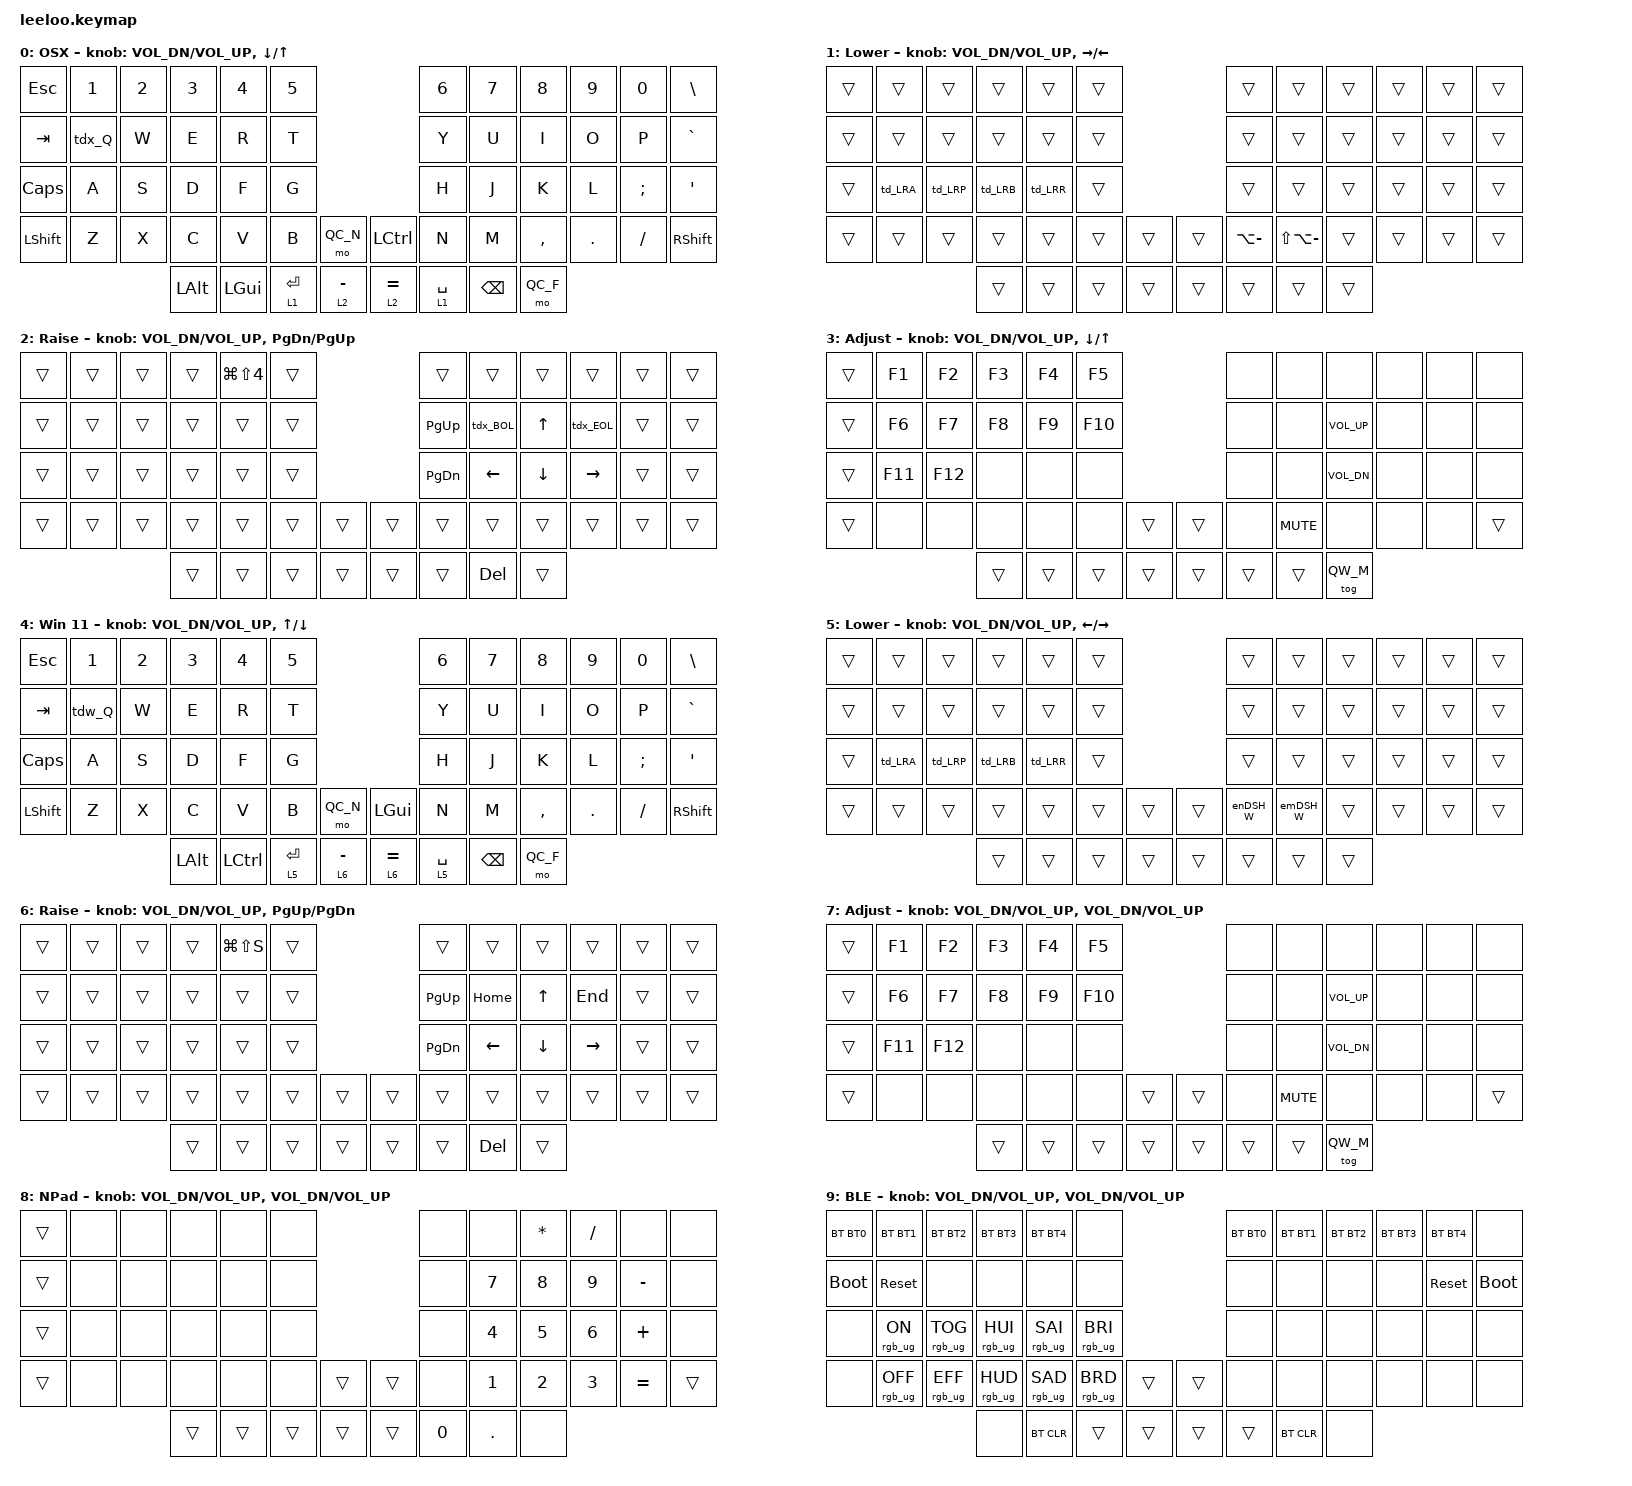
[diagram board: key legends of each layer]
/*
 * Copyright (c) 2023 The ZMK Contributors
 *
 * SPDX-License-Identifier: MIT
 */
#include <behaviors.dtsi>
#include <dt-bindings/zmk/outputs.h>
#include <dt-bindings/zmk/keys.h>
#include <dt-bindings/zmk/bt.h>
#include <dt-bindings/zmk/rgb.h>

// Layers
#define QX_M    0       // Main
#define QX_L    1       // Lower
#define QX_R    2       // Raise
#define QX_A    3       // Adjust

#define QW_M    4       // Main
#define QW_L    5       // Lower
#define QW_R    6       // Raise
#define QW_A    7       // Adjust

#define QC_N    8       // Number Pad
#define QC_F    9       // Firmware


// Short versions
#define WIN_SC  LG(LS(S))
#define OSX_SC  LG(LS(N4))
#define OSX_BOL LG(LEFT)
#define OSX_EOL LG(RIGHT)

#define enDSH_X LA(MINUS)
#define emDSH_X LS(LA(MINUS))

#define BT0     BT_SEL 0
#define BT1     BT_SEL 1
#define BT2     BT_SEL 2
#define BT3     BT_SEL 3
#define BT4     BT_SEL 4

#define BOOTLDR     &bootloader

#define VOLUP   C_VOL_UP
#define VOLDN   C_VOL_DN
#define VOLMT   C_MUTE

#define RGBON   &rgb_ug RGB_ON
#define RGBOFF  &rgb_ug RGB_OFF
#define RGBTOG  &rgb_ug RGB_TOG
#define RGBHUI  &rgb_ug RGB_HUI
#define RGBHUD  &rgb_ug RGB_HUD
#define RGBSAI  &rgb_ug RGB_SAI
#define RGBSAD  &rgb_ug RGB_SAD
#define RGBBRI  &rgb_ug RGB_BRI
#define RGBBRD  &rgb_ug RGB_BRD
#define RGBEFF  &rgb_ug RGB_EFF


/*
 * Assign the cs-gpios pin to 4.
 * Uncomment these next few lines if implementing nice!view Displays
 */
nice_view_spi: &spi0 {
//    compatible = "nordic,nrf-spim";
//    pinctrl-0 = <&spi0_default>;
//    pinctrl-1 = <&spi0_sleep>;
//    pinctrl-names = "default", "sleep";
    cs-gpios = <&pro_micro 4 GPIO_ACTIVE_HIGH>;
};


/ {
    conditional_layers {
        compatible = "zmk,conditional-layers";
        adjust_win_layer {
            if-layers = <QW_L QW_R>;
            then-layer = <QW_A>;
        };
        
        adjust_osx_layer {
            if-layers = <QX_L QX_R>;
            then-layer = <QX_A>;
        };
    };


    combos {
        compatible = "zmk,combos";

        combo_quit_app_win {
            timeout-ms = <50>;
            key-positions = <13 14>;
            layers = <QW_M>;
            bindings = <&kp LA(F4)>;
        };
    };

    macros {
        enDSH_W: en_Dash {
            label = "enDSH_W";
            compatible = "zmk,behavior-macro";
            #binding-cells = <0>;
            wait-ms = <20>;
            tap-ms = <20>;
            bindings
                = <&macro_press   &kp LALT>
                , <&macro_tap     &kp KP_N0 &kp KP_N1 &kp KP_N5 &kp KP_N0>
                , <&macro_release &kp LALT>
                ;
        };

        emDSH_W: em_Dash {
            label = "emDSH_W";
            compatible = "zmk,behavior-macro";
            #binding-cells = <0>;
            wait-ms = <20>;
            tap-ms = <20>;
            bindings
                = <&macro_press   &kp LALT>
                , <&macro_tap     &kp KP_N0 &kp KP_N1 &kp KP_N5 &kp KP_N1>
                , <&macro_release &kp LALT>
                ;
        };
    };

    behaviors {
        tdw_Q: tap_dance_0 {
            compatible = "zmk,behavior-tap-dance";
            label = "WIN_QUIT";
            #binding-cells = <0>;
            tapping-term-ms = <200>;
            bindings = <&kp Q>, <&kp LA(F4)>;
        };

        tdx_Q: tap_dance_1 {
            compatible = "zmk,behavior-tap-dance";
            label = "OSX_QUIT";
            #binding-cells = <0>;
            tapping-term-ms = <200>;
            bindings = <&kp Q>, <&kp LG(Q)>;
        };

        td_LRP: tap_dance_2 {
            compatible = "zmk,behavior-tap-dance";
            label = "LRPAR";
            #binding-cells = <0>;
            tapping-term-ms = <200>;
            bindings = <&kp LPAR>, <&kp RPAR>;
        };

        td_LRB: tap_dance_3 {
            compatible = "zmk,behavior-tap-dance";
            label = "LRBKT";
            #binding-cells = <0>;
            tapping-term-ms = <200>;
            bindings = <&kp LBKT>, <&kp RBKT>;
        };

        td_LRR: tap_dance_4 {
            compatible = "zmk,behavior-tap-dance";
            label = "LRBRC";
            #binding-cells = <0>;
            tapping-term-ms = <200>;
            bindings = <&kp LBRC>, <&kp RBRC>;
        };

        td_LRA: tap_dance_5 {
            compatible = "zmk,behavior-tap-dance";
            label = "LRANG";
            #binding-cells = <0>;
            tapping-term-ms = <200>;
            bindings = <&kp LT>, <&kp GT>;
        };

        tdx_BOL: tap_dance_6 {
            compatible = "zmk,behavior-tap-dance";
            label = "OSX_BOL";
            #binding-cells = <0>;
            tapping-term-ms = <200>;
            bindings = <&kp LG(LEFT)>, <&kp HOME>;
        };

        tdx_EOL: tap_dance_7 {
            compatible = "zmk,behavior-tap-dance";
            label = "OSX_EOL";
            #binding-cells = <0>;
            tapping-term-ms = <200>;
            bindings = <&kp LG(RIGHT)>, <&kp END>;
        };
    };

    keymap {
        compatible = "zmk,keymap";

        default_osx_layer {
            label = " OSX";
            bindings = <
&kp ESC    &kp N1     &kp N2     &kp N3     &kp N4     &kp N5                           &kp N6     &kp N7     &kp N8     &kp N9     &kp N0     &kp BSLH
&kp TAB    &tdx_Q     &kp W      &kp E      &kp R      &kp T                            &kp Y      &kp U      &kp I      &kp O      &kp P      &kp GRAV
&kp CAPS   &kp A      &kp S      &kp D      &kp F      &kp G                            &kp H      &kp J      &kp K      &kp L      &kp SEMI   &kp SQT
&kp LSHFT  &kp Z      &kp X      &kp C      &kp V      &kp B    &mo QC_N    &kp LCTRL   &kp N      &kp M      &kp COMMA  &kp DOT    &kp FSLH   &kp RSHFT
                            &kp LALT   &kp LGUI   &lt 1 RET  &lt 2 MINUS    &lt 2 EQUAL &lt 1 SPACE  &kp BSPC   &mo QC_F
            >;

            sensor-bindings = <&inc_dec_kp C_VOL_DN C_VOL_UP &inc_dec_kp DOWN UP>;
        };

        lower_osx_layer {
            label = " Lower";
            bindings = <
&trans     &trans     &trans     &trans     &trans     &trans                           &trans      &trans      &trans     &trans     &trans     &trans
&trans     &trans     &trans     &trans     &trans     &trans                           &trans      &trans      &trans     &trans     &trans     &trans
&trans     &td_LRA    &td_LRP    &td_LRB    &td_LRR    &trans                           &trans      &trans      &trans     &trans     &trans     &trans
&trans     &trans     &trans     &trans     &trans     &trans     &trans      &trans    &kp enDSH_X &kp emDSH_X &trans     &trans     &trans     &trans
                                 &trans     &trans     &trans     &trans      &trans    &trans      &trans     &trans
            >;

            sensor-bindings = <&inc_dec_kp C_VOL_DN C_VOL_UP &inc_dec_kp RIGHT LEFT>;
        };

        raise_osx_layer {
            label = " Raise";
            bindings = <
&trans     &trans     &trans     &trans     &kp OSX_SC &trans                           &trans     &trans     &trans     &trans     &trans     &trans
&trans     &trans     &trans     &trans     &trans     &trans                           &kp PG_UP  &tdx_BOL   &kp UP     &tdx_EOL   &trans     &trans
&trans     &trans     &trans     &trans     &trans     &trans                           &kp PG_DN  &kp LEFT   &kp DOWN   &kp RIGHT  &trans     &trans
&trans     &trans     &trans     &trans     &trans     &trans     &trans      &trans    &trans     &trans     &trans     &trans     &trans     &trans
                                 &trans     &trans     &trans     &trans      &trans    &trans     &kp DEL    &trans
            >;

            sensor-bindings = <&inc_dec_kp C_VOL_DN C_VOL_UP &inc_dec_kp PG_DN PG_UP>;
        };

        adjust_osx_layer {
            label = " Adjust";
            bindings = <
&trans     &kp F1     &kp F2     &kp F3     &kp F4     &kp F5                           &none      &none      &none      &none      &none      &none
&trans     &kp F6     &kp F7     &kp F8     &kp F9     &kp F10                          &none      &none      &kp VOLUP  &none      &none      &none
&trans     &kp F11    &kp F12    &none      &none      &none                            &none      &none      &kp VOLDN  &none      &none      &none 
&trans     &none      &none      &none      &none      &none      &trans      &trans    &none      &kp VOLMT  &none      &none      &none      &trans
                                 &trans     &trans     &trans     &trans      &trans    &trans     &trans     &tog QW_M
            >;

            sensor-bindings = <&inc_dec_kp C_VOL_DN C_VOL_UP &inc_dec_kp DOWN UP>;
        };

        default_win_layer {
            label = " Win 11";
            bindings = <
&kp ESC    &kp N1     &kp N2     &kp N3     &kp N4     &kp N5                           &kp N6     &kp N7     &kp N8     &kp N9     &kp N0     &kp BSLH
&kp TAB    &tdw_Q     &kp W      &kp E      &kp R      &kp T                            &kp Y      &kp U      &kp I      &kp O      &kp P      &kp GRAV
&kp CAPS   &kp A      &kp S      &kp D      &kp F      &kp G                            &kp H      &kp J      &kp K      &kp L      &kp SEMI   &kp SQT
&kp LSHFT  &kp Z      &kp X      &kp C      &kp V      &kp B    &mo QC_N    &kp LGUI    &kp N      &kp M      &kp COMMA  &kp DOT    &kp FSLH   &kp RSHFT
                              &kp LALT &kp LCTRL  &lt 5 RET  &lt 6 MINUS    &lt 6 EQUAL &lt 5 SPACE  &kp BSPC &mo QC_F
            >;

            sensor-bindings = <&inc_dec_kp C_VOL_DN C_VOL_UP &inc_dec_kp UP DOWN>;
        };

        lower_win_layer {
            label = " Lower";
            bindings = <
&trans     &trans     &trans     &trans     &trans     &trans                           &trans     &trans     &trans     &trans     &trans     &trans
&trans     &trans     &trans     &trans     &trans     &trans                           &trans     &trans     &trans     &trans     &trans     &trans
&trans     &td_LRA    &td_LRP    &td_LRB    &td_LRR    &trans                           &trans     &trans     &trans     &trans     &trans     &trans
&trans     &trans     &trans     &trans     &trans     &trans     &trans      &trans    &enDSH_W   &emDSH_W   &trans     &trans     &trans     &trans
                                 &trans     &trans     &trans     &trans      &trans    &trans     &trans     &trans
            >;

            sensor-bindings = <&inc_dec_kp C_VOL_DN C_VOL_UP &inc_dec_kp LEFT RIGHT>;
        };

        raise_win_layer {
            label = " Raise";
            bindings = <
&trans     &trans     &trans     &trans     &kp WIN_SC &trans                           &trans     &trans     &trans     &trans     &trans     &trans
&trans     &trans     &trans     &trans     &trans     &trans                           &kp PG_UP  &kp HOME   &kp UP     &kp END    &trans     &trans
&trans     &trans     &trans     &trans     &trans     &trans                           &kp PG_DN  &kp LEFT   &kp DOWN   &kp RIGHT  &trans     &trans
&trans     &trans     &trans     &trans     &trans     &trans     &trans      &trans    &trans     &trans     &trans     &trans     &trans     &trans
                                 &trans     &trans     &trans     &trans      &trans    &trans     &kp DEL    &trans
            >;

            sensor-bindings = <&inc_dec_kp C_VOL_DN C_VOL_UP &inc_dec_kp PG_UP PG_DN>;
        };

        adjust_win_layer {
            label = " Adjust";
            bindings = <
&trans     &kp F1     &kp F2     &kp F3     &kp F4     &kp F5                           &none      &none      &none      &none      &none      &none
&trans     &kp F6     &kp F7     &kp F8     &kp F9     &kp F10                          &none      &none      &kp VOLUP  &none      &none      &none
&trans     &kp F11    &kp F12    &none      &none      &none                            &none      &none      &kp VOLDN  &none      &none      &none
&trans     &none      &none      &none      &none      &none      &trans      &trans    &none      &kp VOLMT  &none      &none      &none      &trans
                                 &trans     &trans     &trans     &trans      &trans    &trans     &trans     &tog QW_M
            >;

            sensor-bindings = <&inc_dec_kp C_VOL_DN C_VOL_UP &inc_dec_kp C_VOL_DN C_VOL_UP>;
        };

        numpad_layer {
            label = " NPad";
            bindings = <
&trans      &none     &none      &none      &none      &none                            &none      &none      &kp ASTRK  &kp SLASH  &none      &none 
&trans      &none     &none      &none      &none      &none                            &none      &kp N7     &kp N8     &kp N9     &kp MINUS  &none 
&trans      &none     &none      &none      &none      &none                            &none      &kp N4     &kp N5     &kp N6     &kp PLUS   &none 
&trans      &none     &none      &none      &none      &none      &trans      &trans    &none      &kp N1     &kp N2     &kp N3     &kp EQUAL  &trans
                                 &trans     &trans     &trans     &trans      &trans    &kp N0     &kp DOT    &none 
            >;

            sensor-bindings = <&inc_dec_kp C_VOL_DN C_VOL_UP &inc_dec_kp C_VOL_DN C_VOL_UP>;
        };

        firmware_layer {
            label = " BLE";
            bindings = <
&bt BT0     &bt BT1     &bt BT2  &bt BT3    &bt BT4    &none                            &bt BT0    &bt BT1    &bt BT2    &bt BT3    &bt BT4    &none 
BOOTLDR     &sys_reset  &none    &none      &none      &none                            &none      &none      &none      &none      &sys_reset BOOTLDR
&none       RGBON       RGBTOG   RGBHUI     RGBSAI     RGBBRI                           &none      &none      &none      &none      &none      &none
&none       RGBOFF      RGBEFF   RGBHUD     RGBSAD     RGBBRD     &trans      &trans    &none      &none      &none      &none      &none      &none
                                 &none      &bt BT_CLR &trans     &trans      &trans    &trans     &bt BT_CLR &none 
            >;

            sensor-bindings = <&inc_dec_kp C_VOL_DN C_VOL_UP &inc_dec_kp C_VOL_DN C_VOL_UP>;
        };
    };
};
